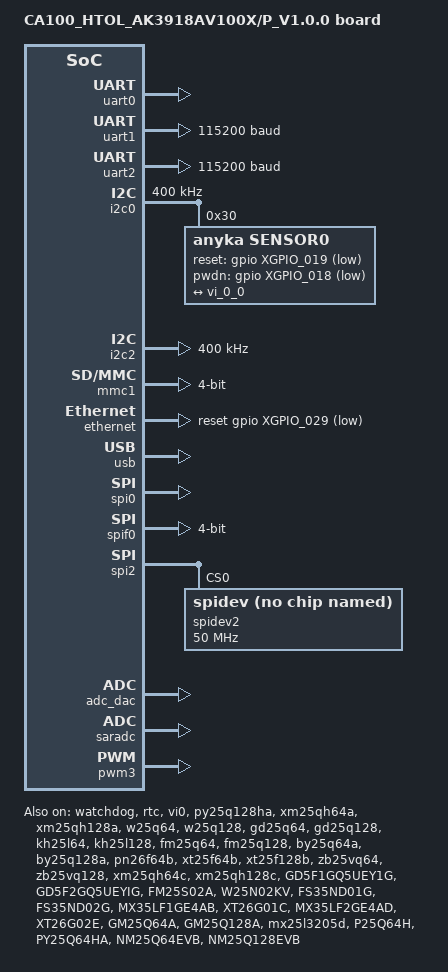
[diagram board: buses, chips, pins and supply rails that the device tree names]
/*
 * AK3918AV100XP dev board dts
 *
 * Copyright (C) 2020 Anyka(Guangzhou) Microelectronics Technology Co., Ltd.
 *
 * This program is free software; you can redistribute it and/or modify
 * it under the terms of the GNU General Public License as published by
 * the Free Software Foundation; either version 2 of the License, or
 * (at your option) any later version.
 *
 * This program is distributed in the hope that it will be useful,
 * but WITHOUT ANY WARRANTY; without even the implied warranty of
 * MERCHANTABILITY or FITNESS FOR A PARTICULAR PURPOSE.  See the
 * GNU General Public License for more details.
 */

#include "anycloud_norflash.dtsi"
#include "anycloud_nandflash.dtsi"

/ {
    compatible = "anyka,ak3918av100";
    model = "CA100_HTOL_AK3918AV100X/P_V1.0.0 board";
    version = "V1.0.00";
};

&gpio {
    /*
    * "anyka,function": func index, please refer to dt-bindings/pinctrl/ak3918av100_pinctrl.h
    * "anyka,pull": configuration of the pins
    * bit[7:0]: pull up/down configuration
    *     bit[0]: pull up or pull down selection, 1 means select pull down, 0 means select pull up
    *     bit[4]: pull up or pull down enable, 1 means enable pull up&down function, 0 means disable fuction
    * !!! Notice that not all pin support pull up and pull down. Please refer to the programer's guide.
    * bit[11:8]: driver strength configuration.
    *     bit[9:8] drive strength.
    * bit[12:15] gpio direction
    *     bit[12]: direction. 0 is output, 1 is input
    *     bit[15]: enable direction. 1 is enable
    * bit[19:16]: input enable configuration
    *     bit[16]: 1 means enable input, 0 means disable input.
    * bit[20-23]: gpio output level
    *     bit[20]: 0 is low level, 1 is high level
    *     bit[23]: enable gpio output level. 1 is enable
    * bit[31:24]: pin slew rate configuration
    *     bit[24]: 1 means fast slew rate, 0 means slow slew rate.
    * !!! Notice OTHER bits which not mentioned please set to 0.
    */

    dvp0_10bits_pins: dvp0_10bits_pins {
        anyka,pins = <XGPIO_100		//pclk
                         XGPIO_009	//hsync
                         XGPIO_010	//vsync
                         XGPIO_017	//d0
                         XGPIO_018  //d1
                         XGPIO_019	//d2
                         XGPIO_020	//d3
                         XGPIO_023	//d4
                         XGPIO_021	//d5
                         XGPIO_078	//d6
                         XGPIO_099	//d7
                         XGPIO_102	//d8
                         XGPIO_101>;//d9

        anyka,function = <XGPIO_100_FUNC_CSI_CLK
                            XGPIO_009_FUNC_CSI_HSYNC
                            XGPIO_010_FUNC_CSI_VSYNC
                            XGPIO_017_FUNC_CSI_D0
                            XGPIO_018_FUNC_CSI_D1
                            XGPIO_019_FUNC_CSI_D2
                            XGPIO_020_FUNC_CSI_D3
                            XGPIO_023_FUNC_CSI_D4
                            XGPIO_021_FUNC_CSI_D5
                            XGPIO_078_FUNC_CSI_D6
                            XGPIO_099_FUNC_CSI_D7
                            XGPIO_102_FUNC_CSI_D8
                            XGPIO_101_FUNC_CSI_D9>;
        anyka,pull = <0x00010010>;
    };

    dvp0_8bits_pins: dvp0_8bits_pins {
        anyka,pins = <   XGPIO_100
                         XGPIO_009
                         XGPIO_010
                         XGPIO_019	//d2
                         XGPIO_020	//d3
                         XGPIO_023	//d4
                         XGPIO_021	//d5
                         XGPIO_078	//d6
                         XGPIO_099	//d7
                         XGPIO_102	//d8
                         XGPIO_101>;//d9
        anyka,function = <  XGPIO_100_FUNC_CSI_CLK
                            XGPIO_009_FUNC_CSI_HSYNC
                            XGPIO_010_FUNC_CSI_VSYNC
                            XGPIO_019_FUNC_CSI_D2
                            XGPIO_020_FUNC_CSI_D3
                            XGPIO_023_FUNC_CSI_D4
                            XGPIO_021_FUNC_CSI_D5
                            XGPIO_078_FUNC_CSI_D6
                            XGPIO_099_FUNC_CSI_D7
                            XGPIO_102_FUNC_CSI_D8
                            XGPIO_101_FUNC_CSI_D9>;
        anyka,pull = <0x00010010>;
    };

    mipi0_3lane_pins: mipi0_3lane_pins {
        anyka,pins = <XGPIO_099
                        XGPIO_100
                        XGPIO_078
                        XGPIO_079
                        XGPIO_101
                        XGPIO_102>;
        anyka,function = <XGPIO_099_FUNC_MIPI_RX_L0P
                            XGPIO_100_FUNC_MIPI_RX_L0N
                            XGPIO_078_FUNC_MIPI_RX_L1P
                            XGPIO_079_FUNC_MIPI_RX_L1N
                            XGPIO_101_FUNC_MIPI_RX_L2P
                            XGPIO_102_FUNC_MIPI_RX_L2N>;
        anyka,pull = <0x00010010>;
    };

    csi0_sclk_pin: csi0_sclk_pin {
        anyka,pins = <XGPIO_022>;
        anyka,function = <XGPIO_022_FUNC_CSI0_SCLK>;
        anyka,pull = <0x00010010>;
    };

    csi1_sclk_pin: csi1_sclk_pin {
        anyka,pins = <XGPIO_030>;
        anyka,function = <XGPIO_030_FUNC_CSI1_SCLK>;
        anyka,pull = <0x00010010>;
    };

    i2c0_pins: i2c0_pins {
        anyka,pins = <XGPIO_020 XGPIO_021>;
        anyka,function = <XGPIO_020_FUNC_TWI0_SDA XGPIO_021_FUNC_TWI0_SCL>;
        anyka,pull = <0x1010010>;
    };



    mci1_pins: mci1_pins {
        anyka,pins = <XGPIO_036
                        XGPIO_035
                        XGPIO_034
                        XGPIO_033
                        XGPIO_032
                        XGPIO_031>;
        anyka,function = <XGPIO_036_FUNC_SDIO0_DATA1
                            XGPIO_035_FUNC_SDIO0_DATA0
                            XGPIO_034_FUNC_SDIO0_MCLK
                            XGPIO_033_FUNC_SDIO0_CMD
                            XGPIO_032_FUNC_SDIO0_DATA3
                            XGPIO_031_FUNC_SDIO0_DATA2>;
        anyka,pull = <0x1010010>;
    };

    /*
       when not use tf card, set to idle state,
       to protect tf card and extend it's life.
    */
    mci1_idle_pins: mci1_idle_pins {
        anyka,pins = <XGPIO_036
                        XGPIO_035
                        XGPIO_034
                        XGPIO_033
                        XGPIO_032
                        XGPIO_031>;
        anyka,function = <XGPIO_036_FUNC_GPIO36
                            XGPIO_035_FUNC_GPIO35
                            XGPIO_034_FUNC_GPIO34
                            XGPIO_033_FUNC_GPIO33
                            XGPIO_032_FUNC_GPIO32
                            XGPIO_031_FUNC_GPIO31>;
        anyka,pull = <0x11>;
    };

    /* 
     *  When using DATA3 as plugin and plugoff detect:
     *  1. Set XGPIO_032_FUNC_SDIO0_DATA3 pull up disable and pull down disable
     *  2. Using PULLDOWN RESISTANCE on PCB, for example, 510   KΩ.
    */      
    mci1_pins_d3_detect_mode: mci1_pins_d3_detect_mode {
        anyka,pins = <XGPIO_036
                        XGPIO_035
                        XGPIO_034
                        XGPIO_033
                        XGPIO_032
                        XGPIO_031>;
        anyka,function = <XGPIO_036_FUNC_SDIO0_DATA1
                            XGPIO_035_FUNC_SDIO0_DATA0
                            XGPIO_034_FUNC_SDIO0_MCLK
                            XGPIO_033_FUNC_SDIO0_CMD
                            XGPIO_032_FUNC_SDIO0_DATA3
                            XGPIO_031_FUNC_SDIO0_DATA2>;
        anyka,pull = <  0x1010010 
                        0x1010010
                        0x1010010
                        0x1010010
                        0x1010001  /* disable pull down and pull up */
                        0x1010010 >;
    };

    /*
       when not use tf card, set to idle state, the pin set to gpio function except dat3 pin.
       to protect tf card, extend it's life.
    */
    mci1_idle_pins_d3: mci1_idle_pins_d3 {
        anyka,pins = <XGPIO_036
                        XGPIO_035
                        XGPIO_034
                        XGPIO_033
                        XGPIO_032
                        XGPIO_031>;
        anyka,function = <XGPIO_036_FUNC_GPIO36
                            XGPIO_035_FUNC_GPIO35
                            XGPIO_034_FUNC_GPIO34
                            XGPIO_033_FUNC_GPIO33
                            XGPIO_032_FUNC_SDIO0_DATA3
                            XGPIO_031_FUNC_GPIO31>;
        anyka,pull = <  0x0000011
                        0x0000011
                        0x0000011
                        0x0000011
                        0x1010001  /* disable pull down and pull up */
                        0x0000011 >;
    };

    /*
       when not use tf card, set to idle state, the pin set to gpio function except mclk pin.
       to protect tf card, extend it's life.
    */
    mci1_idle_pins_clk: mci1_idle_pins_clk {
        anyka,pins = <XGPIO_036
                        XGPIO_035
                        XGPIO_034
                        XGPIO_033
                        XGPIO_032
                        XGPIO_031>;
        anyka,function = <XGPIO_036_FUNC_GPIO36
                            XGPIO_035_FUNC_GPIO35
                            XGPIO_034_FUNC_SDIO0_MCLK
                            XGPIO_033_FUNC_GPIO33
                            XGPIO_032_FUNC_GPIO32
                            XGPIO_031_FUNC_GPIO31>;
        anyka,pull = <  0x0000011
                        0x0000011
                        0x1010010 /* clk */
                        0x0000011
                        0x0000011
                        0x0000011 >;
    };

    mci2_pins: mci2_pins {
        anyka,pins = <XGPIO_058
                     XGPIO_065
                     XGPIO_066
                     XGPIO_067
                     XGPIO_068
                     XGPIO_069>;
        anyka,function = <  XGPIO_058_FUNC_SDIO1_CMD
                        XGPIO_065_FUNC_SDIO1_MCLK
                        XGPIO_066_FUNC_SDIO1_DATA2
                        XGPIO_067_FUNC_SDIO1_DATA3
                        XGPIO_068_FUNC_SDIO1_DATA0
                        XGPIO_069_FUNC_SDIO1_DATA1>;
        anyka,pull = <0x1010010>;
    };

    mci2_idle_pins: mci2_idle_pins {
        anyka,pins = <  XGPIO_058
                        XGPIO_065
                        XGPIO_066
                        XGPIO_067
                        XGPIO_068
                        XGPIO_069>;
        anyka,function = <  XGPIO_058_FUNC_GPIO58
                            XGPIO_065_FUNC_GPIO65
                            XGPIO_066_FUNC_GPIO66
                            XGPIO_067_FUNC_GPIO67
                            XGPIO_068_FUNC_GPIO68
                            XGPIO_069_FUNC_GPIO69>;
        anyka,pull = <0x0>;

    };

    tf_det_pins: tf_det_pins {
        anyka,pins = <XGPIO_037>;
        anyka,function = <XGPIO_037_FUNC_GPIO37>;
        anyka,pull = <0x1010010>;
    };

    tf_en_pins: tf_en_pins {
        anyka,pins = <XGPIO_098>;
        anyka,function = <XGPIO_098_FUNC_GPIO98>;
        anyka,pull = <0x1010010>;
    };

    wifi_en_pins: wifi_en_pins {
        anyka,pins = <XGPIO_098>;
        anyka,function = <XGPIO_098_FUNC_GPIO98>;
        anyka,pull = <0x1010010>;
    };

    wifi_rst_pins: wifi_rst_pins {
        anyka,pins = <XGPIO_056>;
        anyka,function = <XGPIO_056_FUNC_GPIO56>;
        anyka,pull = <0x1010010>;
    };

    //speaker_en_pins: speaker_en_pins {
    //    anyka,pins = <XGPIO_037>;
    //    anyka,function = <XGPIO_037_FUNC_GPIO37>;
    //    anyka,pull = <0x00808000>;
    //};

    i2c2_pins: i2c2_pins {
        anyka,pins = <XGPIO_004 XGPIO_005>;
        anyka,function = <XGPIO_004_FUNC_TWI2_SCL XGPIO_005_FUNC_TWI2_SDA>;
        anyka,pull = <0x1010010>;
    };

    pwm3_pins: pwm3_pins {
        anyka,pins = <XGPIO_002>;
        anyka,function = <XGPIO_002_FUNC_PWM3>;
        anyka,pull = <0x1000010>;
    };

    pwm3_pins_idle: pwm3_pins_idle {
        anyka,pins = <XGPIO_002>;
        anyka,function = <XGPIO_002_FUNC_GPIO2>;
        anyka,pull = <0x00808000>;
    };

    pwm1_pins: pwm1_pins {
        anyka,pins = <XGPIO_049>;
        anyka,function = <XGPIO_049_FUNC_PWM1>;
        anyka,pull = <0x1000010>;
    };

    saradc_pins: saradc_pins {
        anyka,pins = <XGPIO_070>;
        anyka,function = <XGPIO_070_FUNC_AIN1>;
        anyka,pull = <0x0000000>;
    };



	gpiokey_pins:gpiokey_pins {
		anyka,pins = <XGPIO_003>;
		anyka,function = <XGPIO_003_FUNC_GPIO3>;
		anyka,pull = <0x00010000>;
	};

    ethernet_rmii_pins_inner_jl1101: ethernet_rmii_pins_inner_jl1101 {
        anyka,pins = <  XGPIO_000
                        XGPIO_085
                        XGPIO_087
                        XGPIO_083
                        XGPIO_084
                        XGPIO_091
                        XGPIO_088
                        XGPIO_082
                        XGPIO_089
                        XGPIO_090
                        XGPIO_086
                        XGPIO_028
                    >;
        anyka,function = <  XGPIO_000_FUNC_OPCLK1
                            XGPIO_085_FUNC_RMII_MDIO    
                            XGPIO_087_FUNC_RMII_MDC    
                            XGPIO_083_FUNC_RMII_RXER
                            XGPIO_084_FUNC_RMII_RXDV
                            XGPIO_091_FUNC_RMII_RXD0    
                            XGPIO_088_FUNC_RMII_RXD1    
                            XGPIO_082_FUNC_GPIO82 
                            XGPIO_089_FUNC_RMII_TXD0   
                            XGPIO_090_FUNC_RMII_TXD1    
                            XGPIO_086_FUNC_RMII_TXEN    
                            XGPIO_028_FUNC_MAC_PHY_25M  
                        >;
        /* anyka,pull is the same as AV100N expect XGPIO_028_FUNC_MAC_PHY_25M */
        anyka,pull = <  0x00010000 /* XGPIO_000_FUNC_OPCLK1, input enable */
                        0x00010010 /* XGPIO_085_FUNC_RMII_MDIO, input enable, driver 2mA, slow slew rate, pull up enable*/
                        0x00010011 /* XGPIO_087_FUNC_RMII_MDC,  input enable, driver 2mA, slow slew rate, pull down enable*/
                        0x00010011 /* XGPIO_083_FUNC_RMII_RXER, input enable, driver 2mA, slow slew rate, pull down enable*/
                        0x00010011 /* XGPIO_084_FUNC_RMII_RXDV, input enable, driver 2mA, slow slew rate, pull down enable*/
                        0x00010011 /* XGPIO_091_FUNC_RMII_RXD0, input enable, driver 2mA, slow slew rate, pull down enable*/
                        0x00010011 /* XGPIO_088_FUNC_RMII_RXD1, input enable, driver 2mA, slow slew rate, pull down enable*/ 
                        0x00019000 /* XGPIO_082_FUNC_GPIO82, input state */
                        0x01010011 /* XGPIO_089_FUNC_RMII_TXD0, input enable, driver 2mA, fast slew rate, pull down enable*/ 
                        0x01010011 /* XGPIO_090_FUNC_RMII_TXD1, input enable, driver 2mA, fast slew rate, pull down enable*/ 
                        0x00010011 /* XGPIO_086_FUNC_RMII_TXEN, input enable, driver 2mA, slow slew rate, pull down enable*/            
                        0x00010010 /* XGPIO_028_FUNC_MAC_PHY_25M (clk for phy), input enable, driver 2mA, slow slew rate, pull up enable*/  
                    >;  
    };

    ethernet_rmii_pins_inner_jl1101_c_chip: ethernet_rmii_pins_inner_jl1101_c_chip {
        anyka,pins = <  XGPIO_000
                        XGPIO_085
                        XGPIO_087
                        XGPIO_083
                        XGPIO_084
                        XGPIO_091
                        XGPIO_088
                        XGPIO_082
                        XGPIO_089
                        XGPIO_090
                        XGPIO_086
                        XGPIO_028
                    >;
        anyka,function = <  XGPIO_000_FUNC_OPCLK1
                            XGPIO_085_FUNC_RMII_MDIO    
                            XGPIO_087_FUNC_RMII_MDC    
                            XGPIO_083_FUNC_RMII_RXER
                            XGPIO_084_FUNC_RMII_RXDV
                            XGPIO_091_FUNC_RMII_RXD0    
                            XGPIO_088_FUNC_RMII_RXD1    
                            XGPIO_082_FUNC_GPIO82 
                            XGPIO_089_FUNC_RMII_TXD0   
                            XGPIO_090_FUNC_RMII_TXD1    
                            XGPIO_086_FUNC_RMII_TXEN    
                            XGPIO_028_FUNC_MAC_PHY_25M  
                        >;
        /* anyka,pull is the same as AV100N expect XGPIO_028_FUNC_MAC_PHY_25M */
        anyka,pull = <  0x00010100 /* XGPIO_000_FUNC_OPCLK1, input enable */
                        0x00010010 /* XGPIO_085_FUNC_RMII_MDIO, input enable, driver 2mA, slow slew rate, pull up enable*/
                        0x00010011 /* XGPIO_087_FUNC_RMII_MDC,  input enable, driver 2mA, slow slew rate, pull down enable*/
                        0x00010011 /* XGPIO_083_FUNC_RMII_RXER, input enable, driver 2mA, slow slew rate, pull down enable*/
                        0x00010011 /* XGPIO_084_FUNC_RMII_RXDV, input enable, driver 2mA, slow slew rate, pull down enable*/
                        0x00010011 /* XGPIO_091_FUNC_RMII_RXD0, input enable, driver 2mA, slow slew rate, pull down enable*/
                        0x00010011 /* XGPIO_088_FUNC_RMII_RXD1, input enable, driver 2mA, slow slew rate, pull down enable*/ 
                        0x00019100 /* XGPIO_082_FUNC_GPIO82, input state */
                        0x01010011 /* XGPIO_089_FUNC_RMII_TXD0, input enable, driver 2mA, fast slew rate, pull down enable*/ 
                        0x01010011 /* XGPIO_090_FUNC_RMII_TXD1, input enable, driver 2mA, fast slew rate, pull down enable*/ 
                        0x00010011 /* XGPIO_086_FUNC_RMII_TXEN, input enable, driver 2mA, slow slew rate, pull down enable*/            
                        0x00010010 /* XGPIO_028_FUNC_MAC_PHY_25M (clk for phy), input enable, driver 2mA, slow slew rate, pull up enable*/  
                    >;  
    };

    spi2_pins: spi2_pins {
        anyka,pins = <XGPIO_069
                        XGPIO_066
                        XGPIO_067
                        XGPIO_058
                        XGPIO_065>;
        anyka,function = <XGPIO_069_FUNC_SPI2_DOUT
                            XGPIO_066_FUNC_SPI2_CLK
                            XGPIO_067_FUNC_SPI2_DIN
                            XGPIO_058_FUNC_GPIO58
                            XGPIO_065_FUNC_SPI2_CS0>;
        anyka,pull = <0x00010000>;
    };

    uart1_pins: uart1_pins {
        /* uart1 without flow control*/
        anyka,pins = <XGPIO_049 XGPIO_048>;
        anyka,function = <XGPIO_049_FUNC_UART1_RXD XGPIO_048_FUNC_UART1_TXD>;
        anyka,pull = <0x00010010 0x00010010>;
    };

    uart2_pins: uart2_pins {
        /* uart1 without flow control*/
        anyka,pins = <XGPIO_055 XGPIO_056>;
        anyka,function = <XGPIO_055_FUNC_UART2_RXD XGPIO_056_FUNC_UART2_TXD>;
        anyka,pull = <0x00010010 0x00010010>;
    };
    ethernet_rmii_pins_inner_sz18201: ethernet_rmii_pins_inner_sz18201 {
        anyka,pins = <  XGPIO_000
                        XGPIO_085
                        XGPIO_087
                        XGPIO_083
                        XGPIO_084
                        XGPIO_091
                        XGPIO_088
                        XGPIO_082
                        XGPIO_089
                        XGPIO_090
                        XGPIO_086
                        XGPIO_028
                    >;
        anyka,function = <  XGPIO_000_FUNC_OPCLK1
                            XGPIO_085_FUNC_RMII_MDIO    
                            XGPIO_087_FUNC_RMII_MDC    
                            XGPIO_083_FUNC_RMII_RXER
                            XGPIO_084_FUNC_RMII_RXDV
                            XGPIO_091_FUNC_RMII_RXD0    
                            XGPIO_088_FUNC_RMII_RXD1    
                            XGPIO_082_FUNC_GPIO82 
                            XGPIO_089_FUNC_RMII_TXD0   
                            XGPIO_090_FUNC_RMII_TXD1    
                            XGPIO_086_FUNC_RMII_TXEN    
                            XGPIO_028_FUNC_MAC_PHY_25M  
                        >;
        /* anyka,pull is the same as AV100N expect XGPIO_028_FUNC_MAC_PHY_25M */
        anyka,pull = <  0x00010000 /* XGPIO_000_FUNC_OPCLK1, input enable */
                        0x00010010 /* XGPIO_085_FUNC_RMII_MDIO, input enable, driver 2mA, slow slew rate, pull up enable*/
                        0x00010011 /* XGPIO_087_FUNC_RMII_MDC,  input enable, driver 2mA, slow slew rate, pull down enable*/
                        0x00010011 /* XGPIO_083_FUNC_RMII_RXER, input enable, driver 2mA, slow slew rate, pull down enable*/
                        0x00010011 /* XGPIO_084_FUNC_RMII_RXDV, input enable, driver 2mA, slow slew rate, pull down enable*/
                        0x00010011 /* XGPIO_091_FUNC_RMII_RXD0, input enable, driver 2mA, slow slew rate, pull down enable*/
                        0x00010011 /* XGPIO_088_FUNC_RMII_RXD1, input enable, driver 2mA, slow slew rate, pull down enable*/ 
                        0x00019000 /* XGPIO_082_FUNC_GPIO82, input state */
                        0x01010011 /* XGPIO_089_FUNC_RMII_TXD0, input enable, driver 2mA, fast slew rate, pull down enable*/ 
                        0x01010011 /* XGPIO_090_FUNC_RMII_TXD1, input enable, driver 2mA, fast slew rate, pull down enable*/ 
                        0x00010011 /* XGPIO_086_FUNC_RMII_TXEN, input enable, driver 2mA, slow slew rate, pull down enable*/            
                        0x00010010 /* XGPIO_028_FUNC_MAC_PHY_25M (clk for phy), input enable, driver 2mA, slow slew rate, pull up enable*/  
                    >;  
    };

    ethernet_rmii_pins_inner_sz18201_c_chip: ethernet_rmii_pins_inner_sz18201_c_chip {
        anyka,pins = <  XGPIO_000
                        XGPIO_085
                        XGPIO_087
                        XGPIO_083
                        XGPIO_084
                        XGPIO_091
                        XGPIO_088
                        XGPIO_082
                        XGPIO_089
                        XGPIO_090
                        XGPIO_086
                        XGPIO_028
                    >;
        anyka,function = <  XGPIO_000_FUNC_OPCLK1
                            XGPIO_085_FUNC_RMII_MDIO    
                            XGPIO_087_FUNC_RMII_MDC    
                            XGPIO_083_FUNC_RMII_RXER
                            XGPIO_084_FUNC_RMII_RXDV
                            XGPIO_091_FUNC_RMII_RXD0    
                            XGPIO_088_FUNC_RMII_RXD1    
                            XGPIO_082_FUNC_GPIO82 
                            XGPIO_089_FUNC_RMII_TXD0   
                            XGPIO_090_FUNC_RMII_TXD1    
                            XGPIO_086_FUNC_RMII_TXEN    
                            XGPIO_028_FUNC_MAC_PHY_25M  
                        >;
        /* anyka,pull is the same as AV100N expect XGPIO_028_FUNC_MAC_PHY_25M */
        anyka,pull = <  0x00010100 /* XGPIO_000_FUNC_OPCLK1, input enable */
                        0x00010010 /* XGPIO_085_FUNC_RMII_MDIO, input enable, driver 2mA, slow slew rate, pull up enable*/
                        0x00010011 /* XGPIO_087_FUNC_RMII_MDC,  input enable, driver 2mA, slow slew rate, pull down enable*/
                        0x00010011 /* XGPIO_083_FUNC_RMII_RXER, input enable, driver 2mA, slow slew rate, pull down enable*/
                        0x00010011 /* XGPIO_084_FUNC_RMII_RXDV, input enable, driver 2mA, slow slew rate, pull down enable*/
                        0x00010011 /* XGPIO_091_FUNC_RMII_RXD0, input enable, driver 2mA, slow slew rate, pull down enable*/
                        0x00010011 /* XGPIO_088_FUNC_RMII_RXD1, input enable, driver 2mA, slow slew rate, pull down enable*/ 
                        0x00019100 /* XGPIO_082_FUNC_GPIO82, input state */
                        0x01010011 /* XGPIO_089_FUNC_RMII_TXD0, input enable, driver 2mA, fast slew rate, pull down enable*/ 
                        0x01010011 /* XGPIO_090_FUNC_RMII_TXD1, input enable, driver 2mA, fast slew rate, pull down enable*/ 
                        0x00010011 /* XGPIO_086_FUNC_RMII_TXEN, input enable, driver 2mA, slow slew rate, pull down enable*/            
                        0x00010010 /* XGPIO_028_FUNC_MAC_PHY_25M (clk for phy), input enable, driver 2mA, slow slew rate, pull up enable*/  
                    >;  
    };

    ethernet_rst_pins: ethernet_rst_pins {
        anyka,pins = <XGPIO_029>;
        anyka,function = <XGPIO_029_FUNC_GPIO29>;
        anyka,pull = <0x00010010>;
    };
};

&uart0 {
    pinctrl-names = "default";
    pinctrl-0 = <&uart0_pins>;
    status = "okay";
};
&uart1 {
    pinctrl-names = "default";
    pinctrl-0 = <&uart1_pins>;
    current-speed = <115200>;
    status = "okay";
};
&uart2 {
    pinctrl-names = "default";
    pinctrl-0 = <&uart2_pins>;
    current-speed = <115200>;
    status = "okay";
};
&watchdog {
    status = "okay";
};

&rtc {
    /*
     * rtc osc_source_select, 1 means INTERNAL RC OSC, 0 means EXTERNAL XTAL
     * if internal RC OSC is used to generate 32KH,time adjustment should be setting.(basic unit: ms)
     */
    osc-select = <1>;
    adjust-time = <1000>;
    adjust-based-on-timer;
    status = "okay";
};

&vi0{
    pinctrl-names =  "dvp0_10bits", "dvp0_8bits",
	/*
        "mipi0_4lane", "mipi0_3lane",
        "mipi0_2lane", "mipi0_1lane",
        "mipi1_2lane", "mipi1_1lane",
		*/
        "csi0_sclk", "csi1_sclk";
    pinctrl-0 = <&dvp0_10bits_pins>;
    pinctrl-1 = <&dvp0_8bits_pins>;
    pinctrl-2 = <&csi0_sclk_pin>;
    pinctrl-3 = <&csi1_sclk_pin>;
	/*
    pinctrl-3 = <&mipi0_4lane_pins>;
    pinctrl-4 = <&mipi0_3lane_pins>;
    pinctrl-5 = <&mipi0_2lane_pins>;
    pinctrl-6 = <&mipi0_1lane_pins>;
    pinctrl-7 = <&mipi1_2lane_pins>;
    pinctrl-8 = <&mipi1_1lane_pins>;
    pinctrl-9 = <&csi0_sclk_pin>;
    pinctrl-10 = <&csi1_sclk_pin>;
	*/
    status = "okay";

	csi_mipi_lane_swap = <
		SENSOR_D0	//L0
		SENSOR_C0	//L1
		SENSOR_D1	//L2
		SENSOR_D2	//L3
		SENSOR_D3	//L4
		SENSOR_C1	//L5
		>;//MIPI_RX_L0~5.
	csi_mipi_dndp_swap = <
		MIPI_DNDP_NOSWAP	//L0
		MIPI_DNDP_NOSWAP	//L1
		MIPI_DNDP_NOSWAP	//L2
		MIPI_DNDP_NOSWAP	//L3
		MIPI_DNDP_NOSWAP	//L4
		MIPI_DNDP_NOSWAP	//L5
	>;//MIPI_RX_L0~5. 0: noswap; others: swap

	port@0 {
		#address-cells = <1>;
		#size-cells = <0>;

		vi_0_0: endpoint@0 {
			reg = <0>;
			remote-endpoint = <&sensor0_0>;
		};
	};
};

&i2c0 {
    pinctrl-names = "default";
    pinctrl-0 = <&i2c0_pins>;
    
    clock-frequency = <400000>;
    status = "okay";
	#address-cells = <1>;
	#size-cells = <0>;
    
	sensor0: camera@0x30{
		compatible = "anyka,sensor0";
		reg = <0x30>;

		/*0xffff means the gpio is invalid*/
		reset-gpio = <&gpio XGPIO_019 1>;
		pwdn-gpio = <&gpio XGPIO_018 1>;

		port {
			sensor0_0: endpoint@0 {
				remote-endpoint = <&vi_0_0>;
			};
		};
	};
};

&i2c2 {
    pinctrl-names = "default";
    pinctrl-0 = <&i2c2_pins>;
    clock-frequency = <400000>;
    status = "ok";
	#address-cells = <1>;
	#size-cells = <0>;
};


/* mmc1 card detect using detect-gpio or detect-gpios */
&mmc1 {
    bus-width = <0x4>;
    max-frequency = <50000000>;
    detect-gpio = <&gpio XGPIO_037 1>; 
    cap-sd-highspeed;
    pinctrl-names = "default","idle";
    pinctrl-0 = <&mci1_pins>,<&tf_en_pins>,<&tf_det_pins>;
    pinctrl-1 = <&mci1_idle_pins>; 
    power-pins = <&gpio XGPIO_098 1>; 
    status = "okay"; 
};

/* mmc1 card detect using cd_clk */
/*
&mmc1 {
    bus-width = <0x4>;
    max-frequency = <50000000>;
    cd_clk;
    cap-sd-highspeed;
    pinctrl-names = "default","idle";
    pinctrl-0 = <&mci1_pins>,<&tf_en_pins>;
    pinctrl-1 = <&mci1_idle_pins_clk>;
    power-pins = <&gpio XGPIO_050 1>;
    status = "okay"; 
};
*/

/* mmc1 card detect using cd_d3 */
/*
&mmc1 {
    bus-width = <0x4>;
    max-frequency = <50000000>;
    cd_d3;
    cap-sd-highspeed;
    pinctrl-names = "default","idle";
    pinctrl-0 = <&mci1_pins_d3_detect_mode>,<&tf_en_pins>;
    pinctrl-1 = <&mci1_idle_pins_d3>; 
    power-pins = <&gpio XGPIO_050 1>; 
    status = "okay"; 
};
*/

&mmc2 {
    bus-width = <0x4>;
    max-frequency = <50000000>;
    non-removable;
    cap-sd-highspeed;
    /* if support sdio, using cap-sdio-irq*/
    cap-sdio-irq;
    pinctrl-names = "default","idle";
    pinctrl-0 = <&mci2_pins>,<&wifi_en_pins>,<&wifi_rst_pins>;
    pinctrl-1 = <&mci2_idle_pins>;
    power-pins = <&gpio XGPIO_098 1>;   //power-pins is which wifi_en_pins describes
    rst-pins =   <&gpio XGPIO_056 1>;    //rst-pins is which wifi_rst_pins describes
    status = "disable"; 
};

&ethernet {
    pinctrl-names = "default", "inner_sz18201", "inner_jl1101_c_chip", "inner_sz18201_c_chip";
    pinctrl-0 = <&ethernet_rmii_pins_inner_jl1101 &ethernet_rst_pins>;
    pinctrl-1 = <&ethernet_rmii_pins_inner_sz18201 &ethernet_rst_pins>;
    pinctrl-2 = <&ethernet_rmii_pins_inner_jl1101_c_chip &ethernet_rst_pins>;
    pinctrl-3 = <&ethernet_rmii_pins_inner_sz18201_c_chip &ethernet_rst_pins>;
    reset-gpios = <&gpio XGPIO_029 1>;
    phy-address = <1>;
    inner-phy-mode = <1>;
    status = "okay";
};

&usb {
    status = "okay";
};

&spi0 {
    pinctrl-names = "default";
    pinctrl-0 = <&spiflash_pins>;
    spi-bus-frequency = <100000000>;
    /*
     * cap-spi-highspeed;
     * if defined, means high speed controller(Maximum 100M/s);
     * if not, means normal speed controller(below 80M/s)
     */
    cap-spi-highspeed;
    status = "okay";
};

&spif0 {
    /* spi flash data bus width:
    ** 1 means 1 wire mode.
    ** 2 means 2 wire mode
    ** 4 means 4 wire mode.
    ** default: 4 wire mode.
    **/
    bus-width = <4>;
    status = "okay";
};


&spi2 {
    pinctrl-names = "default";
    pinctrl-0 = <&spi2_pins>;
    spi-bus-frequency = <50000000>;
    status = "okay";

    spidev2: spidev@2 {
        compatible = "rohm,dh2228fv";
        reg = <0>; // Chip select
        spi-max-frequency = <50000000>;
        status = "okay";
    };
};

&py25q128ha{
    status = "okay";
};

&xm25qh64a{
    status = "okay";
};

&xm25qh128a{
    status = "okay";
};

&w25q64{
    status = "okay";
};

&w25q128{
    status = "okay";
};

&gd25q64{
    status = "okay";
};

&gd25q128{
    status = "okay";
};

&kh25l64{
    status = "okay";
};

&kh25l128{
    status = "okay";
};

&fm25q64{
    status = "okay";
};

&fm25q128{
    status = "okay";
};

&by25q64a{
    status = "okay";
};

&by25q128a{
    status = "okay";
};

&pn26f64b{
    status = "okay";
};

&xt25f64b{
    status = "okay";
};

&xt25f128b{
    status = "okay";
};

&zb25vq64{
    status = "okay";
};

&zb25vq128{
    status = "okay";
};

&xm25qh64c{
    status = "okay";
};

&xm25qh128c{
    status = "okay";
};

&GD5F1GQ5UEY1G{
    status = "okay";
};

&GD5F2GQ5UEYIG{
    status = "okay";
};

&FM25S02A{
    status = "okay";
};

&W25N02KV{
    status = "okay";
};

&FS35ND01G{
    status = "okay";
};

&FS35ND02G{
    status = "okay";
};

&MX35LF1GE4AB{
    status = "okay";
};

&XT26G01C{
    status = "okay";
};

&MX35LF2GE4AD{
    status = "okay";
};

&XT26G02E{
    status = "okay";
};

&GM25Q64A{
    status = "okay";
};

&GM25Q128A{
    status = "okay";
};

&mx25l3205d{
    status = "okay";
};

&P25Q64H{
    status = "okay";
};

&PY25Q64HA{
  status = "okay";
};

&NM25Q64EVB{
    status = "okay";
};

&NM25Q128EVB{
    status = "okay";
};

&ME25L64E{
    status = "okay";
};

&ME25L128C{
    status = "okay";
};

&XM25QH256C{
    status = "okay";
};

&UC25IQ128A{
  status = "okay";
};

&BW25Q64A{
    status = "okay";
};

&UC25IQ64A{
    status = "okay";
};

&TH25Q64HA{
    status = "okay";
};

&TH25Q128HA{
    status = "okay";
};

&BW25Q128A{
    status = "okay";
};

&adc_dac {
    //pinctrl-names = "default";
    //pinctrl-0 = <&speaker_en_pins>;
    //speak-gpios = <&gpio XGPIO_037 1>;
    pd-hpvcm = <1>;
    /*
    * The level of speak-gpios votage for power on audio: 0=low, 1=high
    */
    speak-gpios-en = <1>;
    status = "okay";

    dev0 {
        snd-dev = <SND_CARD_DAC_PLAYBACK>;
        snd-type = <AK_PCM_DEV_PLAYBACK>;
    };

    dev1 {
        snd-dev = <SND_CARD_ADC_CAPTURE>;
        snd-type = <AK_PCM_DEV_CAPTURE>;
    };

    dev2 {
        snd-dev = <SND_CARD_DAC_LOOPBACK>;
        snd-type = <AK_PCM_DEV_LOOPBACK>;
    };
};

&venc {
    status = "okay";
};

&venc_bridge{
     status = "okay";
};

&cnn{
    status = "okay";
};

&gpiokeys {
	#address-cells = <1>;
	#size-cells = <0>;
	pinctrl-0 = <&gpiokey_pins>;
	pinctrl-names = "default";
	status = "disable";

	config {
        label = "config_key";
        gpios = <&gpio XGPIO_003 GPIO_ACTIVE_HIGH>;
        linux,code = <116>;
        debounce-interval = <100>;
	};
};

&saradc{
    pinctrl-names = "default";
    pinctrl-0 = <&saradc_pins>;

    /* SAR ADC VREF selection
    * 0:To select AVCC 3.3V as VREF for SAR ADC.
    * 1:To select 3.0V generated from BGR as VREF for SAR ADC.
    */
    vref-select = <0>;
    /*
    * 0:To disable BAT voltage divider.
    * 1:To enable BAT voltage divider divided by 2.
    */
    battery-divider = <1>;
    /*
    * Sampling number
    * Read the sampling data for N times and then calculate the average value.
    * N ranges from 1 to 7.
    */
    sampling-num = <3>;
    status = "okay";
};

&encrypt{
    status = "okay"; 
};

&pwm3 {
	pinctrl-names = "default", "idle";
    pinctrl-0 = <&pwm3_pins>;
	pinctrl-1 = <&pwm3_pins_idle>;
	period-ns = <500>;
	duty-ns = <100>;
	pwm-enable = <1>;
	status = "okay";
};

&pwm1 {
	pinctrl-names = "default";
    pinctrl-0 = <&pwm1_pins>;
	period-ns = <500>;
	duty-ns = <250>;
	pwm-enable = <1>;
	status = "disable";
};
